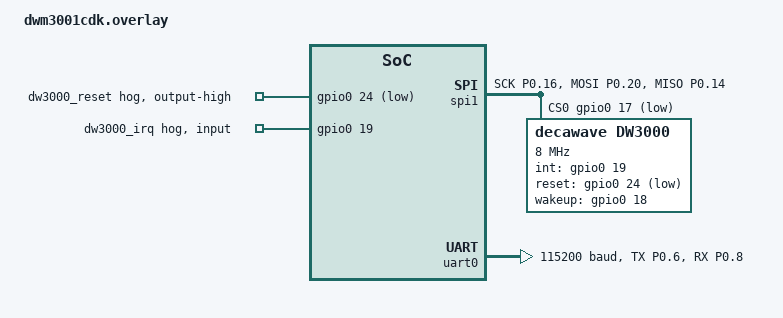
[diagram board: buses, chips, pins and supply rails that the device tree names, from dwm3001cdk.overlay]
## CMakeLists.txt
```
cmake_minimum_required(VERSION 3.20.0)

find_package(Zephyr REQUIRED HINTS $ENV{ZEPHYR_BASE})
project(uwb_scanner VERSION 1.0.0)

# Get git commit hash
execute_process(
    COMMAND git rev-parse --short HEAD
    WORKING_DIRECTORY ${CMAKE_SOURCE_DIR}
    OUTPUT_VARIABLE GIT_COMMIT_HASH
    OUTPUT_STRIP_TRAILING_WHITESPACE
    ERROR_QUIET
)

# Get build timestamp
string(TIMESTAMP BUILD_TIMESTAMP "%Y-%m-%d %H:%M:%S UTC" UTC)

# Pass version info as compile definitions
if(GIT_COMMIT_HASH)
    target_compile_definitions(app PRIVATE
        GIT_COMMIT_HASH="${GIT_COMMIT_HASH}"
        BUILD_TIMESTAMP="${BUILD_TIMESTAMP}"
    )
endif()

target_sources(app PRIVATE
    src/main.c
    src/uwb_scanner.c
    src/dw3000_driver.c
    src/uart_output.c
)

target_include_directories(app PRIVATE
    include
)
```

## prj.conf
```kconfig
# Zephyr Configuration for UWB Scanner

# Logging
CONFIG_LOG=y
CONFIG_LOG_DEFAULT_LEVEL=3
CONFIG_SERIAL=y
CONFIG_CONSOLE=y
CONFIG_UART_CONSOLE=y
CONFIG_UART_NRFX=y

# USB CDC ACM
CONFIG_USB_DEVICE_STACK=y
CONFIG_USB_DEVICE_PRODUCT="UWB Scanner"
CONFIG_USB_DEVICE_MANUFACTURER="Qorvo"
CONFIG_USB_DEVICE_VID=0x2FE3
CONFIG_USB_DEVICE_PID=0x0100
CONFIG_USB_CDC_ACM=y
CONFIG_UART_LINE_CTRL=y

# Logging backend
CONFIG_LOG_BACKEND_UART=y

# UWB and SPI
CONFIG_SPI=y
CONFIG_GPIO=y

# JSON support for output formatting
CONFIG_JSON_LIBRARY=y

# Increase stack sizes for UWB processing
CONFIG_MAIN_STACK_SIZE=8192
CONFIG_SYSTEM_WORKQUEUE_STACK_SIZE=4096

# Enable floating point for distance calculations
CONFIG_FPU=y

# Optimize for performance
CONFIG_SPEED_OPTIMIZATIONS=y

# Enable timestamps
CONFIG_COUNTER=y
```

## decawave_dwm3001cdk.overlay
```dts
/*
 * Device Tree Overlay for DWM3001CDK
 * Configures SPI and GPIO for DW3000 UWB transceiver
 */

#include <zephyr/dt-bindings/pinctrl/nrf-pinctrl.h>

/ {
    chosen {
        zephyr,console = &uart0;
        zephyr,shell-uart = &uart0;
        zephyr,cdc-acm-uart0 = &cdc_acm_uart0;
    };

    aliases {
        dw3000-spi = &spi3;
    };
};

/* Pin configuration for SPI3 */
&pinctrl {
    spi3_default: spi3_default {
        group1 {
            psels = <NRF_PSEL(SPIM_SCK, 0, 16)>,
                    <NRF_PSEL(SPIM_MOSI, 0, 20)>,
                    <NRF_PSEL(SPIM_MISO, 0, 21)>;
        };
    };

    spi3_sleep: spi3_sleep {
        group1 {
            psels = <NRF_PSEL(SPIM_SCK, 0, 16)>,
                    <NRF_PSEL(SPIM_MOSI, 0, 20)>,
                    <NRF_PSEL(SPIM_MISO, 0, 21)>;
            low-power-enable;
        };
    };
};

/* Enable USB */
&zephyr_udc0 {
    cdc_acm_uart0: cdc_acm_uart0 {
        compatible = "zephyr,cdc-acm-uart";
    };
};

/* Configure SPI3 for DW3000 */
&spi3 {
    compatible = "nordic,nrf-spim";
    status = "okay";
    pinctrl-0 = <&spi3_default>;
    pinctrl-1 = <&spi3_sleep>;
    pinctrl-names = "default", "sleep";

    dw3000: dw3000@0 {
        compatible = "decawave,dw3000";
        reg = <0>;
        spi-max-frequency = <8000000>;
        cs-gpios = <&gpio0 17 GPIO_ACTIVE_LOW>;
        int-gpios = <&gpio0 19 (GPIO_PULL_DOWN | GPIO_ACTIVE_HIGH)>;
        reset-gpios = <&gpio0 24 GPIO_ACTIVE_LOW>;
        wakeup-gpios = <&gpio0 18 GPIO_ACTIVE_HIGH>;
    };
};

/* Configure UART0 for console output */
&uart0 {
    compatible = "nordic,nrf-uarte";
    status = "okay";
    current-speed = <115200>;
    pinctrl-0 = <&uart0_default>;
    pinctrl-1 = <&uart0_sleep>;
    pinctrl-names = "default", "sleep";
};

/* GPIO configuration */
&gpio0 {
    status = "okay";
};
```

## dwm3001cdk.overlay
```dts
/*
 * Device Tree Overlay for DWM3001CDK
 * Configures SPI and GPIO for DW3000 UWB transceiver
 */

/ {
    chosen {
        zephyr,console = &uart0;
        zephyr,shell-uart = &uart0;
    };

    aliases {
        dw3000-spi = &spi1;
    };
};

/* Configure SPI1 for DW3000 */
&spi1 {
    compatible = "nordic,nrf-spim";
    status = "okay";
    cs-gpios = <&gpio0 17 GPIO_ACTIVE_LOW>;

    pinctrl-0 = <&spi1_default>;
    pinctrl-1 = <&spi1_sleep>;
    pinctrl-names = "default", "sleep";

    dw3000: dw3000@0 {
        compatible = "decawave,dw3000";
        reg = <0>;
        spi-max-frequency = <8000000>;
        int-gpios = <&gpio0 19 (GPIO_PULL_DOWN | GPIO_ACTIVE_HIGH)>;
        reset-gpios = <&gpio0 24 GPIO_ACTIVE_LOW>;
        wakeup-gpios = <&gpio0 18 GPIO_ACTIVE_HIGH>;
    };
};

/* Configure UART0 for console output */
&uart0 {
    status = "okay";
    current-speed = <115200>;
    pinctrl-0 = <&uart0_default>;
    pinctrl-1 = <&uart0_sleep>;
    pinctrl-names = "default", "sleep";
};

/* Pin configuration */
&pinctrl {
    spi1_default: spi1_default {
        group1 {
            psels = <NRF_PSEL(SPIM_SCK, 0, 16)>,
                    <NRF_PSEL(SPIM_MOSI, 0, 20)>,
                    <NRF_PSEL(SPIM_MISO, 0, 14)>;
        };
    };

    spi1_sleep: spi1_sleep {
        group1 {
            psels = <NRF_PSEL(SPIM_SCK, 0, 16)>,
                    <NRF_PSEL(SPIM_MOSI, 0, 20)>,
                    <NRF_PSEL(SPIM_MISO, 0, 14)>;
            low-power-enable;
        };
    };

    uart0_default: uart0_default {
        group1 {
            psels = <NRF_PSEL(UART_TX, 0, 6)>,
                    <NRF_PSEL(UART_RX, 0, 8)>;
        };
    };

    uart0_sleep: uart0_sleep {
        group1 {
            psels = <NRF_PSEL(UART_TX, 0, 6)>,
                    <NRF_PSEL(UART_RX, 0, 8)>;
            low-power-enable;
        };
    };
};

/* GPIO configuration for DW3000 control pins */
&gpio0 {
    status = "okay";

    dw3000_reset: dw3000-reset {
        gpio-hog;
        gpios = <24 GPIO_ACTIVE_LOW>;
        output-high;
    };

    dw3000_irq: dw3000-irq {
        gpio-hog;
        gpios = <19 (GPIO_PULL_DOWN | GPIO_ACTIVE_HIGH)>;
        input;
    };
};
```

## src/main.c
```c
/**
 * @file main.c
 * @brief UWB Device Scanner main application
 */

#include <zephyr/kernel.h>
#include <zephyr/logging/log.h>
#include <zephyr/sys/printk.h>
#include <zephyr/version.h>
#include <zephyr/usb/usb_device.h>
#include <zephyr/drivers/uart.h>

#include "uwb_scanner.h"
#include "uart_output.h"
#include "version.h"

LOG_MODULE_REGISTER(main, LOG_LEVEL_INF);

/* Statistics */
static uint32_t devices_detected = 0;
static uint32_t scan_start_time = 0;

/* Device discovery callback */
static void on_device_found(const uwb_device_info_t *info)
{
    devices_detected++;

    /* Output device information via UART */
    uart_output_device_info(info);

    /* Log summary */
    LOG_INF("Device #%u: addr=0x%016llX, dist=%.2f cm, RSSI=%.2f dBm",
           devices_detected,
           info->device_addr,
           (double)info->distance_cm,
           (double)info->rssi_dbm);
}

/* Statistics thread */
#define STATS_THREAD_STACK_SIZE 1024
#define STATS_THREAD_PRIORITY 7

static K_THREAD_STACK_DEFINE(stats_stack, STATS_THREAD_STACK_SIZE);
static struct k_thread stats_thread;
static bool stats_active = true;

static void stats_thread_fn(void *arg1, void *arg2, void *arg3)
{
    ARG_UNUSED(arg1);
    ARG_UNUSED(arg2);
    ARG_UNUSED(arg3);

    while (stats_active) {
        /* Wait 10 seconds */
        k_sleep(K_SECONDS(10));

        /* Calculate and output statistics */
        uint32_t uptime = k_uptime_get_32();
        uint32_t scan_duration = (uptime - scan_start_time) / 1000;

        char status_msg[128];
        snprintf(status_msg, sizeof(status_msg),
                "Uptime: %u s, Devices detected: %u, Scan duration: %u s",
                uptime / 1000, devices_detected, scan_duration);

        uart_output_status(status_msg);

        LOG_INF("Statistics: %s", status_msg);
    }
}

int main(void)
{
    int ret;

#ifdef CONFIG_USB_DEVICE_STACK
    /* Initialize USB device */
    ret = usb_enable(NULL);
    if (ret != 0) {
        LOG_ERR("Failed to enable USB: %d", ret);
    } else {
        LOG_INF("USB device enabled");
    }

    /* Wait for USB to be ready and enumerated */
    k_sleep(K_MSEC(1000));
#else
    /* Wait for console to be ready */
    k_sleep(K_MSEC(100));
#endif

    LOG_INF("==============================================");
    LOG_INF("    UWB Device Scanner");
    LOG_INF("==============================================");
    LOG_INF("Version:      %s", APP_VERSION_STRING);
    LOG_INF("Git Hash:     %s", GIT_COMMIT_HASH);
    LOG_INF("Build Time:   %s", BUILD_TIMESTAMP);
    LOG_INF("Zephyr:       %s", KERNEL_VERSION_STRING);
    LOG_INF("Board:        %s", CONFIG_BOARD);
    LOG_INF("==============================================");

    /* Initialize UART output */
    ret = uart_output_init();
    if (ret < 0) {
        LOG_ERR("Failed to initialize UART output: %d", ret);
        uart_output_error("UART initialization failed");
        return ret;
    }

    uart_output_status("Initializing UWB scanner...");

    /* Initialize UWB scanner */
    ret = uwb_scanner_init(on_device_found);
    if (ret < 0) {
        LOG_ERR("Failed to initialize UWB scanner: %d", ret);
        uart_output_error("UWB scanner initialization failed");
        return ret;
    }

    uart_output_status("UWB scanner initialized");

    /* Start scanning */
    scan_start_time = k_uptime_get_32();
    ret = uwb_scanner_start();
    if (ret < 0) {
        LOG_ERR("Failed to start UWB scanner: %d", ret);
        uart_output_error("Failed to start scanner");
        return ret;
    }

    uart_output_status("Scanning started");
    LOG_INF("Scanner started successfully");

    /* Start statistics thread */
    k_thread_create(&stats_thread, stats_stack, STATS_THREAD_STACK_SIZE,
                   stats_thread_fn, NULL, NULL, NULL,
                   STATS_THREAD_PRIORITY, 0, K_NO_WAIT);
    k_thread_name_set(&stats_thread, "statistics");

    /* Main loop - just keep running */
    while (1) {
        k_sleep(K_SECONDS(1));

        /* Check if scanner is still active */
        if (!uwb_scanner_is_active()) {
            LOG_WRN("Scanner stopped unexpectedly");
            uart_output_error("Scanner stopped");

            /* Try to restart */
            k_sleep(K_SECONDS(1));
            ret = uwb_scanner_start();
            if (ret < 0) {
                LOG_ERR("Failed to restart scanner: %d", ret);
            } else {
                uart_output_status("Scanner restarted");
            }
        }
    }

    return 0;
}
```

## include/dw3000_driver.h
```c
/**
 * @file dw3000_driver.h
 * @brief DW3000 UWB transceiver driver interface
 */

#ifndef DW3000_DRIVER_H
#define DW3000_DRIVER_H

#include <stdint.h>
#include <stdbool.h>

/* DW3000 Register addresses */
#define DW3000_REG_DEV_ID           0x00
#define DW3000_REG_SYS_CFG          0x04
#define DW3000_REG_TX_FCTRL         0x08
#define DW3000_REG_RX_FINFO         0x10
#define DW3000_REG_RX_BUFFER        0x11
#define DW3000_REG_RX_FQUAL         0x12
#define DW3000_REG_RX_TTCKI         0x13
#define DW3000_REG_RX_TIME          0x15
#define DW3000_REG_TX_TIME          0x17
#define DW3000_REG_SYS_STATUS       0x44
#define DW3000_REG_RX_FINFO         0x10
#define DW3000_REG_CIA_CONF         0x50
#define DW3000_REG_IP_CONF          0x52

/* DW3000 Configuration */
#define DW3000_CHANNEL_5            5
#define DW3000_CHANNEL_9            9
#define DW3000_PRF_16M              1
#define DW3000_PRF_64M              2
#define DW3000_PLEN_64              0x01
#define DW3000_PLEN_128             0x05
#define DW3000_PLEN_256             0x09

/* Status flags */
#define DW3000_STATUS_RXFCG         (1 << 13)  /* Receiver FCS Good */
#define DW3000_STATUS_RXFCE         (1 << 15)  /* Receiver FCS Error */
#define DW3000_STATUS_RXRFTO        (1 << 17)  /* Receiver Frame Wait Timeout */
#define DW3000_STATUS_RXPTO         (1 << 21)  /* Preamble Timeout */
#define DW3000_STATUS_RXFR          (1 << 13)  /* Frame Ready */

/**
 * @brief DW3000 configuration structure
 */
typedef struct {
    uint8_t channel;           /* UWB channel (5 or 9) */
    uint8_t prf;               /* Pulse repetition frequency */
    uint8_t preamble_length;   /* Preamble length code */
    uint8_t pac_size;          /* Preamble acquisition chunk size */
    uint16_t tx_preamble_code; /* TX preamble code */
    uint16_t rx_preamble_code; /* RX preamble code */
} dw3000_config_t;

/**
 * @brief Structure for received frame information
 */
typedef struct {
    uint8_t buffer[127];       /* Frame data buffer */
    uint16_t length;           /* Frame length */
    uint64_t timestamp;        /* RX timestamp */
    float rssi;                /* Received signal strength */
    uint16_t fpp_index;        /* First path power index */
    float fpp_level;           /* First path power level */
    uint8_t frame_quality;     /* Quality indicator */
} dw3000_rx_frame_t;

/**
 * @brief Initialize DW3000 chip
 *
 * @return 0 on success, negative error code otherwise
 */
int dw3000_init(void);

/**
 * @brief Configure DW3000 for operation
 *
 * @param config Pointer to configuration structure
 * @return 0 on success, negative error code otherwise
 */
int dw3000_configure(const dw3000_config_t *config);

/**
 * @brief Enable receiver mode
 *
 * @param timeout_ms Receive timeout in milliseconds (0 for no timeout)
 * @return 0 on success, negative error code otherwise
 */
int dw3000_rx_enable(uint32_t timeout_ms);

/**
 * @brief Read received frame
 *
 * @param frame Pointer to frame structure to fill
 * @return 0 on success, negative error code otherwise
 */
int dw3000_read_frame(dw3000_rx_frame_t *frame);

/**
 * @brief Check if frame is ready to be read
 *
 * @return true if frame ready, false otherwise
 */
bool dw3000_is_frame_ready(void);

/**
 * @brief Get device ID
 *
 * @return 32-bit device ID
 */
uint32_t dw3000_get_device_id(void);

/**
 * @brief Set device address (EUI-64)
 *
 * @param addr 64-bit device address
 * @return 0 on success, negative error code otherwise
 */
int dw3000_set_device_address(uint64_t addr);

/**
 * @brief Perform soft reset
 *
 * @return 0 on success, negative error code otherwise
 */
int dw3000_reset(void);

/**
 * @brief Read register value
 *
 * @param reg Register address
 * @param data Buffer for data
 * @param len Length to read
 * @return 0 on success, negative error code otherwise
 */
int dw3000_read_reg(uint16_t reg, uint8_t *data, uint16_t len);

/**
 * @brief Write register value
 *
 * @param reg Register address
 * @param data Data to write
 * @param len Length to write
 * @return 0 on success, negative error code otherwise
 */
int dw3000_write_reg(uint16_t reg, const uint8_t *data, uint16_t len);

#endif /* DW3000_DRIVER_H */
```

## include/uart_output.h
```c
/**
 * @file uart_output.h
 * @brief UART output formatting interface
 */

#ifndef UART_OUTPUT_H
#define UART_OUTPUT_H

#include "uwb_scanner.h"

/**
 * @brief Initialize UART output
 *
 * @return 0 on success, negative error code otherwise
 */
int uart_output_init(void);

/**
 * @brief Output device information in JSON format
 *
 * @param info Pointer to device information
 */
void uart_output_device_info(const uwb_device_info_t *info);

/**
 * @brief Output status message
 *
 * @param message Status message string
 */
void uart_output_status(const char *message);

/**
 * @brief Output error message
 *
 * @param error_msg Error message string
 */
void uart_output_error(const char *error_msg);

#endif /* UART_OUTPUT_H */
```

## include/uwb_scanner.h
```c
/**
 * @file uwb_scanner.h
 * @brief UWB device scanner interface
 */

#ifndef UWB_SCANNER_H
#define UWB_SCANNER_H

#include <stdint.h>
#include <stdbool.h>

/**
 * @brief Structure containing information about a discovered UWB device
 */
typedef struct {
    uint64_t device_addr;      /* EUI-64 address of the device */
    uint32_t timestamp_ms;     /* System timestamp when device was detected */
    float distance_cm;         /* Estimated distance in centimeters */
    float rssi_dbm;           /* Received signal strength in dBm */
    uint16_t fpp_index;       /* First path power index */
    float fpp_level;          /* First path power level */
    uint8_t channel;          /* UWB channel used */
    uint8_t prf;              /* Pulse repetition frequency (16 or 64 MHz) */
    uint8_t frame_quality;    /* Frame quality indicator (0-255) */
} uwb_device_info_t;

/**
 * @brief Callback function type for device discovery
 *
 * @param info Pointer to device information structure
 */
typedef void (*uwb_device_callback_t)(const uwb_device_info_t *info);

/**
 * @brief Initialize the UWB scanner
 *
 * @param callback Function to call when a device is discovered
 * @return 0 on success, negative error code otherwise
 */
int uwb_scanner_init(uwb_device_callback_t callback);

/**
 * @brief Start continuous scanning for UWB devices
 *
 * @return 0 on success, negative error code otherwise
 */
int uwb_scanner_start(void);

/**
 * @brief Stop UWB scanning
 *
 * @return 0 on success, negative error code otherwise
 */
int uwb_scanner_stop(void);

/**
 * @brief Check if scanner is currently active
 *
 * @return true if scanning, false otherwise
 */
bool uwb_scanner_is_active(void);

#endif /* UWB_SCANNER_H */
```

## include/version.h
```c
/**
 * @file version.h
 * @brief Version information for UWB Scanner
 */

#ifndef VERSION_H
#define VERSION_H

/* Application version */
#define APP_VERSION_MAJOR 1
#define APP_VERSION_MINOR 0
#define APP_VERSION_PATCH 0

#define APP_VERSION_STRING "1.0.0"

/* Git information - will be populated by CMake */
#ifndef GIT_COMMIT_HASH
#define GIT_COMMIT_HASH "unknown"
#endif

#ifndef BUILD_TIMESTAMP
#define BUILD_TIMESTAMP __DATE__ " " __TIME__
#endif

#endif /* VERSION_H */
```

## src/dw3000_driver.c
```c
/**
 * @file dw3000_driver.c
 * @brief DW3000 UWB transceiver driver implementation
 */

#include <zephyr/kernel.h>
#include <zephyr/device.h>
#include <zephyr/drivers/spi.h>
#include <zephyr/drivers/gpio.h>
#include <zephyr/logging/log.h>
#include <zephyr/sys/util.h>
#include <string.h>
#include <math.h>

#include "dw3000_driver.h"

LOG_MODULE_REGISTER(dw3000, LOG_LEVEL_INF);

/* Device Tree Node */
#define DW3000_NODE DT_NODELABEL(dw3000)

/* SPI Configuration */
#define DW3000_SPI_FREQ 8000000
#define DW3000_SPI_FREQ_SLOW 2000000  /* Slower speed for init */
#define DW3000_SPI_MODE (SPI_WORD_SET(8) | SPI_TRANSFER_MSB)

/* SPI Commands */
#define DW3000_SPI_WRITE 0x80
#define DW3000_SPI_READ  0x00

/* Device constants */
#define DW3000_DEVICE_ID 0xDECA0302

/* GPIO Pins for DWM3001CDK */
#define DW3000_RESET_PIN  24
#define DW3000_WAKEUP_PIN 18
#define DW3000_IRQ_PIN    19

/* Static variables */
static const struct device *spi_dev;
static struct spi_config spi_cfg;
static const struct device *gpio_dev;

/* Helper function to perform SPI transaction */
static int dw3000_spi_transfer(uint16_t reg, uint8_t *data, uint16_t len, bool write)
{
    uint8_t header[3];
    uint8_t header_rx[3];
    int header_len;

    /* Build SPI header */
    if (reg < 0x80) {
        /* Short register address */
        header[0] = (write ? DW3000_SPI_WRITE : DW3000_SPI_READ) | (reg & 0x3F);
        header_len = 1;
    } else {
        /* Extended register address */
        header[0] = (write ? DW3000_SPI_WRITE : DW3000_SPI_READ) | 0x40;
        header[1] = (reg & 0x7F);
        header[2] = ((reg >> 7) & 0xFF);
        header_len = 3;
    }

    struct spi_buf tx_bufs[] = {
        {.buf = header, .len = (size_t)header_len},
        {.buf = write ? data : NULL, .len = write ? len : 0}
    };

    struct spi_buf rx_bufs[] = {
        {.buf = header_rx, .len = (size_t)header_len},
        {.buf = write ? NULL : data, .len = write ? 0 : len}
    };

    struct spi_buf_set tx = {.buffers = tx_bufs, .count = 2U};
    struct spi_buf_set rx = {.buffers = rx_bufs, .count = 2U};

    int ret = spi_transceive(spi_dev, &spi_cfg, &tx, &rx);
    if (ret < 0) {
        LOG_ERR("SPI transfer failed: %d (reg=0x%04X, len=%d, write=%d)", 
                ret, reg, len, write);
        return ret;
    }
    
    /* Debug: Print first few bytes of read data */
    if (!write && len > 0) {
        LOG_DBG("SPI read reg 0x%04X: 0x%02X 0x%02X 0x%02X 0x%02X", 
                reg, 
                len > 0 ? data[0] : 0,
                len > 1 ? data[1] : 0,
                len > 2 ? data[2] : 0,
                len > 3 ? data[3] : 0);
    }

    return 0;
}

int dw3000_read_reg(uint16_t reg, uint8_t *data, uint16_t len)
{
    return dw3000_spi_transfer(reg, data, len, false);
}

int dw3000_write_reg(uint16_t reg, const uint8_t *data, uint16_t len)
{
    return dw3000_spi_transfer(reg, (uint8_t *)data, len, true);
}

int dw3000_init(void)
{
    int ret;

    LOG_INF("Initializing DW3000");

    /* Get GPIO device */
    gpio_dev = DEVICE_DT_GET(DT_NODELABEL(gpio0));
    if (!device_is_ready(gpio_dev)) {
        LOG_ERR("GPIO device not ready");
        return -ENODEV;
    }

    /* Get SPI device */
    spi_dev = DEVICE_DT_GET(DT_BUS(DW3000_NODE));
    if (!device_is_ready(spi_dev)) {
        LOG_ERR("SPI device not ready");
        return -ENODEV;
    }
    LOG_DBG("SPI device ready: %s", spi_dev->name);

    /* Configure SPI - DW3000 requires SPI Mode 0 (CPOL=0, CPHA=0) */
    /* Start with slower speed for initialization */
    spi_cfg.frequency = DW3000_SPI_FREQ_SLOW;
    spi_cfg.operation = DW3000_SPI_MODE;
    spi_cfg.slave = 0;

    /* Configure CS control from device tree */
    spi_cfg.cs = (struct spi_cs_control) {
        .gpio = SPI_CS_GPIOS_DT_SPEC_GET(DW3000_NODE),
        .delay = 2,  /* 2us delay after CS assertion */
    };
    
    LOG_DBG("SPI config: freq=%d Hz, mode=0x%08X", spi_cfg.frequency, spi_cfg.operation);

    /* Configure reset GPIO (output, initially high/inactive since active-low) */
    ret = gpio_pin_configure(gpio_dev, DW3000_RESET_PIN, GPIO_OUTPUT_HIGH);
    if (ret < 0) {
        LOG_ERR("Failed to configure reset GPIO: %d", ret);
        return ret;
    }

    /* Configure wakeup GPIO (keep high to prevent sleep) */
    ret = gpio_pin_configure(gpio_dev, DW3000_WAKEUP_PIN, GPIO_OUTPUT_HIGH);
    if (ret < 0) {
        LOG_WRN("Failed to configure wakeup GPIO: %d", ret);
    }

    /* Perform hardware reset sequence */
    LOG_INF("Performing hardware reset");

    /* DW3000 wakeup sequence: 
     * The chip might be in deep sleep. We need to wake it first before reset.
     * Wakeup requires pulling WAKEUP low briefly, then high.
     */
    
    /* First, try to wake the chip from deep sleep */
    LOG_DBG("Waking chip from potential deep sleep");
    gpio_pin_set(gpio_dev, DW3000_WAKEUP_PIN, 0);  /* Pull WAKEUP low */
    k_sleep(K_USEC(500));  /* 500us low pulse */
    gpio_pin_set(gpio_dev, DW3000_WAKEUP_PIN, 1);  /* Pull WAKEUP high */
    k_sleep(K_MSEC(2));  /* Wait for wakeup */

    /* Now perform the hardware reset */
    LOG_DBG("Asserting reset (low)");
    gpio_pin_set(gpio_dev, DW3000_RESET_PIN, 0);
    k_sleep(K_MSEC(2));  /* Hold reset for 2ms minimum */

    /* Deassert reset (pull high) */
    LOG_DBG("Deasserting reset (high)");
    gpio_pin_set(gpio_dev, DW3000_RESET_PIN, 1);
    
    /* Keep WAKEUP high to prevent chip from going back to sleep */
    gpio_pin_set(gpio_dev, DW3000_WAKEUP_PIN, 1);
    
    /* Wait for chip to stabilize after reset - DW3000 datasheet specifies 5ms */
    k_sleep(K_MSEC(5));
    
    LOG_DBG("Attempting to read device ID");

    /* Try a simple SPI loopback test first by reading a known register */
    uint8_t test_buf[4] = {0};
    int ret_test = dw3000_read_reg(DW3000_REG_DEV_ID, test_buf, 4);
    LOG_DBG("Initial SPI test: ret=%d, data=[0x%02X 0x%02X 0x%02X 0x%02X]",
            ret_test, test_buf[0], test_buf[1], test_buf[2], test_buf[3]);

    /* Read and verify device ID - try multiple times */
    uint32_t dev_id = 0;
    int attempts = 0;
    for (attempts = 0; attempts < 5; attempts++) {
        dev_id = dw3000_get_device_id();
        LOG_INF("Device ID (attempt %d): 0x%08X", attempts + 1, dev_id);
        
        /* Check if we got a valid response (not 0x00000000 or 0xFFFFFFFF) */
        if (dev_id != 0x00000000 && dev_id != 0xFFFFFFFF) {
            break;
        }
        
        /* Wait a bit before retrying */
        k_sleep(K_MSEC(10));
    }
    
    /* If we still have all 1s or all 0s, there's a communication problem */
    if (dev_id == 0x00000000) {
        LOG_ERR("Device ID reads as 0x00000000 - possible SPI connection issue");
        return -EIO;
    } else if (dev_id == 0xFFFFFFFF) {
        LOG_ERR("Device ID reads as 0xFFFFFFFF - chip not responding or not powered");
        return -EIO;
    }

    if ((dev_id & 0xFFFFFF00) != (DW3000_DEVICE_ID & 0xFFFFFF00)) {
        LOG_ERR("Invalid device ID: expected 0x%08X, got 0x%08X",
                DW3000_DEVICE_ID, dev_id);
        return -EINVAL;
    }

    LOG_INF("DW3000 detected successfully, switching to full speed SPI");

    /* Now that we confirmed the chip is working, switch to full speed */
    spi_cfg.frequency = DW3000_SPI_FREQ;
    
    LOG_INF("DW3000 initialized successfully");
    return 0;
}

int dw3000_configure(const dw3000_config_t *config)
{
    int ret;

    LOG_INF("Configuring DW3000: Channel=%d, PRF=%d",
            config->channel, config->prf);

    /* Configure channel and PRF */
    uint8_t chan_cfg[4] = {0};
    chan_cfg[0] = config->channel;
    chan_cfg[1] = config->prf;

    ret = dw3000_write_reg(DW3000_REG_SYS_CFG, chan_cfg, sizeof(chan_cfg));
    if (ret < 0) {
        LOG_ERR("Failed to configure channel");
        return ret;
    }

    /* Configure preamble */
    uint8_t preamble_cfg[2] = {0};
    preamble_cfg[0] = config->preamble_length;

    ret = dw3000_write_reg(0x06, preamble_cfg, sizeof(preamble_cfg));
    if (ret < 0) {
        LOG_ERR("Failed to configure preamble");
        return ret;
    }

    LOG_INF("DW3000 configuration complete");
    return 0;
}

int dw3000_rx_enable(uint32_t timeout_ms)
{
    uint8_t cmd[1] = {0x01}; /* RX enable command */

    int ret = dw3000_write_reg(DW3000_REG_SYS_CFG, cmd, sizeof(cmd));
    if (ret < 0) {
        LOG_ERR("Failed to enable RX");
        return ret;
    }

    return 0;
}

bool dw3000_is_frame_ready(void)
{
    uint8_t status[5] = {0};

    int ret = dw3000_read_reg(DW3000_REG_SYS_STATUS, status, sizeof(status));
    if (ret < 0) {
        return false;
    }

    uint32_t status_reg = (status[0] | (status[1] << 8) |
                          (status[2] << 16) | (status[3] << 24));

    return (status_reg & DW3000_STATUS_RXFCG) != 0;
}

int dw3000_read_frame(dw3000_rx_frame_t *frame)
{
    int ret;

    /* Read frame length */
    uint8_t finfo[4] = {0};
    ret = dw3000_read_reg(DW3000_REG_RX_FINFO, finfo, sizeof(finfo));
    if (ret < 0) {
        LOG_ERR("Failed to read frame info");
        return ret;
    }

    frame->length = finfo[0] | ((finfo[1] & 0x03) << 8);
    if (frame->length > sizeof(frame->buffer)) {
        frame->length = sizeof(frame->buffer);
    }

    /* Read frame data */
    ret = dw3000_read_reg(DW3000_REG_RX_BUFFER, frame->buffer, frame->length);
    if (ret < 0) {
        LOG_ERR("Failed to read frame buffer");
        return ret;
    }

    /* Read RX timestamp */
    uint8_t timestamp[5] = {0};
    ret = dw3000_read_reg(DW3000_REG_RX_TIME, timestamp, sizeof(timestamp));
    if (ret < 0) {
        LOG_ERR("Failed to read timestamp");
        return ret;
    }

    frame->timestamp = timestamp[0] | ((uint64_t)timestamp[1] << 8) |
                      ((uint64_t)timestamp[2] << 16) |
                      ((uint64_t)timestamp[3] << 24) |
                      ((uint64_t)timestamp[4] << 32);

    /* Read signal quality metrics */
    uint8_t fqual[8] = {0};
    ret = dw3000_read_reg(DW3000_REG_RX_FQUAL, fqual, sizeof(fqual));
    if (ret < 0) {
        LOG_ERR("Failed to read frame quality");
        return ret;
    }

    /* Calculate RSSI (simplified) */
    uint16_t cir_pwr = fqual[0] | (fqual[1] << 8);
    frame->rssi = 10.0f * log10f((float)cir_pwr) - 115.0f;

    /* Extract first path power index */
    frame->fpp_index = fqual[2] | (fqual[3] << 8);

    /* Calculate first path power level */
    uint16_t fp_ampl = fqual[4] | (fqual[5] << 8);
    frame->fpp_level = 10.0f * log10f((float)fp_ampl);

    /* Frame quality indicator */
    frame->frame_quality = fqual[6];

    /* Clear RX status */
    uint8_t clear_status[5] = {0xFF, 0xFF, 0xFF, 0xFF, 0xFF};
    dw3000_write_reg(DW3000_REG_SYS_STATUS, clear_status, sizeof(clear_status));

    return 0;
}

uint32_t dw3000_get_device_id(void)
{
    uint8_t id[4] = {0};

    int ret = dw3000_read_reg(DW3000_REG_DEV_ID, id, sizeof(id));
    if (ret < 0) {
        return 0;
    }

    return id[0] | (id[1] << 8) | (id[2] << 16) | (id[3] << 24);
}

int dw3000_set_device_address(uint64_t addr)
{
    uint8_t addr_bytes[8];

    for (int i = 0; i < 8; i++) {
        addr_bytes[i] = (addr >> (i * 8)) & 0xFF;
    }

    return dw3000_write_reg(0x03, addr_bytes, sizeof(addr_bytes));
}

int dw3000_reset(void)
{
    LOG_INF("Resetting DW3000");

    /* Soft reset */
    uint8_t reset_cmd[1] = {0xE0};
    int ret = dw3000_write_reg(0x36, reset_cmd, sizeof(reset_cmd));
    if (ret < 0) {
        return ret;
    }

    k_sleep(K_MSEC(10));

    return 0;
}
```

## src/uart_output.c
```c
/**
 * @file uart_output.c
 * @brief UART output formatting implementation
 */

#include <zephyr/kernel.h>
#include <zephyr/device.h>
#include <zephyr/drivers/uart.h>
#include <zephyr/logging/log.h>
#include <stdio.h>
#include <string.h>

#include "uart_output.h"

LOG_MODULE_REGISTER(uart_output, LOG_LEVEL_INF);

/* UART devices */
static const struct device *uart_dev;
#ifdef CONFIG_USB_CDC_ACM
static const struct device *usb_uart_dev;
#endif

/* Output buffer */
#define OUTPUT_BUFFER_SIZE 512
static char output_buffer[OUTPUT_BUFFER_SIZE];

/* Mutex for thread-safe output */
static K_MUTEX_DEFINE(output_mutex);

/* Helper function to send string via UART */
static void uart_send_string(const char *str)
{
    int len = strlen(str);

    /* Send to physical UART */
    if (uart_dev && device_is_ready(uart_dev)) {
        for (int i = 0; i < len; i++) {
            uart_poll_out(uart_dev, str[i]);
        }
    }

#ifdef CONFIG_USB_CDC_ACM
    /* Send to USB CDC ACM */
    if (usb_uart_dev && device_is_ready(usb_uart_dev)) {
        for (int i = 0; i < len; i++) {
            uart_poll_out(usb_uart_dev, str[i]);
        }
    }
#endif
}

int uart_output_init(void)
{
    LOG_INF("Initializing UART output");

    /* Get UART device */
    uart_dev = DEVICE_DT_GET(DT_CHOSEN(zephyr_console));
    if (!device_is_ready(uart_dev)) {
        LOG_ERR("UART device not ready");
        return -ENODEV;
    }

#ifdef CONFIG_USB_CDC_ACM
    /* Get USB CDC ACM device */
    usb_uart_dev = DEVICE_DT_GET(DT_CHOSEN(zephyr_cdc_acm_uart0));
    if (!device_is_ready(usb_uart_dev)) {
        LOG_WRN("USB CDC ACM device not ready");
        usb_uart_dev = NULL;
    } else {
        LOG_INF("USB CDC ACM device ready");
    }
#endif

    LOG_INF("UART output initialized successfully");
    return 0;
}

void uart_output_device_info(const uwb_device_info_t *info)
{
    k_mutex_lock(&output_mutex, K_FOREVER);

    /* Format device information as JSON */
    int len = snprintf(output_buffer, OUTPUT_BUFFER_SIZE,
        "{"
        "\"type\":\"device_found\","
        "\"timestamp_ms\":%u,"
        "\"device_addr\":\"%016llX\","
        "\"distance_cm\":%.2f,"
        "\"rssi_dbm\":%.2f,"
        "\"fpp_index\":%u,"
        "\"fpp_level\":%.2f,"
        "\"channel\":%u,"
        "\"prf\":%u,"
        "\"frame_quality\":%u"
        "}\r\n",
        info->timestamp_ms,
        info->device_addr,
        (double)info->distance_cm,
        (double)info->rssi_dbm,
        info->fpp_index,
        (double)info->fpp_level,
        info->channel,
        info->prf,
        info->frame_quality
    );

    if (len > 0 && len < OUTPUT_BUFFER_SIZE) {
        uart_send_string(output_buffer);
    } else {
        LOG_ERR("Output buffer overflow");
    }

    k_mutex_unlock(&output_mutex);
}

void uart_output_status(const char *message)
{
    k_mutex_lock(&output_mutex, K_FOREVER);

    int len = snprintf(output_buffer, OUTPUT_BUFFER_SIZE,
        "{\"type\":\"status\",\"message\":\"%s\"}\r\n",
        message
    );

    if (len > 0 && len < OUTPUT_BUFFER_SIZE) {
        uart_send_string(output_buffer);
    }

    k_mutex_unlock(&output_mutex);
}

void uart_output_error(const char *error_msg)
{
    k_mutex_lock(&output_mutex, K_FOREVER);

    int len = snprintf(output_buffer, OUTPUT_BUFFER_SIZE,
        "{\"type\":\"error\",\"message\":\"%s\"}\r\n",
        error_msg
    );

    if (len > 0 && len < OUTPUT_BUFFER_SIZE) {
        uart_send_string(output_buffer);
    }

    k_mutex_unlock(&output_mutex);
}
```

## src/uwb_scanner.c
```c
/**
 * @file uwb_scanner.c
 * @brief UWB device scanner implementation
 */

#include <zephyr/kernel.h>
#include <zephyr/logging/log.h>
#include <string.h>
#include <math.h>

#include "uwb_scanner.h"
#include "dw3000_driver.h"

LOG_MODULE_REGISTER(uwb_scanner, LOG_LEVEL_INF);

/* Scanner state */
static bool scanner_active = false;
static uwb_device_callback_t device_callback = NULL;

/* Scanner thread */
#define SCANNER_STACK_SIZE 2048
#define SCANNER_PRIORITY 5

static K_THREAD_STACK_DEFINE(scanner_stack, SCANNER_STACK_SIZE);
static struct k_thread scanner_thread;

/* IEEE 802.15.4 frame types */
#define IEEE154_FRAME_TYPE_BEACON 0x00
#define IEEE154_FRAME_TYPE_DATA   0x01
#define IEEE154_FRAME_TYPE_ACK    0x02
#define IEEE154_FRAME_TYPE_MAC    0x03

/* Frame control field parsing */
typedef struct {
    uint8_t frame_type;
    bool security_enabled;
    bool frame_pending;
    bool ack_request;
    bool pan_id_compress;
    uint8_t dest_addr_mode;
    uint8_t src_addr_mode;
} ieee154_fcf_t;

/* Parse IEEE 802.15.4 frame control field */
static void parse_frame_control(uint16_t fcf, ieee154_fcf_t *parsed)
{
    parsed->frame_type = fcf & 0x07;
    parsed->security_enabled = (fcf & 0x08) != 0;
    parsed->frame_pending = (fcf & 0x10) != 0;
    parsed->ack_request = (fcf & 0x20) != 0;
    parsed->pan_id_compress = (fcf & 0x40) != 0;
    parsed->dest_addr_mode = (fcf >> 10) & 0x03;
    parsed->src_addr_mode = (fcf >> 14) & 0x03;
}

/* Extract device address from frame */
static uint64_t extract_device_address(const uint8_t *frame, uint16_t length,
                                      const ieee154_fcf_t *fcf)
{
    uint64_t addr = 0;
    int offset = 3; /* Skip FCF and sequence number */

    /* Skip destination PAN ID if present */
    if (fcf->dest_addr_mode != 0) {
        offset += 2;
    }

    /* Skip destination address */
    if (fcf->dest_addr_mode == 2) {
        offset += 2; /* Short address */
    } else if (fcf->dest_addr_mode == 3) {
        offset += 8; /* Extended address */
    }

    /* Skip source PAN ID if present and not compressed */
    if (fcf->src_addr_mode != 0 && !fcf->pan_id_compress) {
        offset += 2;
    }

    /* Extract source address */
    if (fcf->src_addr_mode == 3 && offset + 8 <= length) {
        /* Extended 64-bit address */
        for (int i = 0; i < 8; i++) {
            addr |= ((uint64_t)frame[offset + i]) << (i * 8);
        }
    } else if (fcf->src_addr_mode == 2 && offset + 2 <= length) {
        /* Short 16-bit address */
        addr = frame[offset] | ((uint64_t)frame[offset + 1] << 8);
    }

    return addr;
}

/* Calculate distance from first path power metrics */
static float calculate_distance(uint16_t fpp_index, float fpp_level, float rssi)
{
    /* Simplified distance calculation based on two-way ranging time */
    /* This is an approximation - actual ranging requires two-way exchange */

    /* Convert RSSI to distance using path loss model */
    /* Path loss: PL(d) = PL(d0) + 10*n*log10(d/d0) */
    /* Where n is path loss exponent (typically 2-4 for indoor) */

    const float tx_power = 0.0f;  /* dBm */
    const float pl_d0 = 40.0f;     /* Path loss at 1m reference */
    const float path_loss_exp = 2.5f;  /* Indoor environment */

    float path_loss = tx_power - rssi;
    float distance_m = powf(10.0f, (path_loss - pl_d0) / (10.0f * path_loss_exp));

    /* Convert to centimeters */
    return distance_m * 100.0f;
}

/* Scanner thread function */
static void scanner_thread_fn(void *arg1, void *arg2, void *arg3)
{
    ARG_UNUSED(arg1);
    ARG_UNUSED(arg2);
    ARG_UNUSED(arg3);

    LOG_INF("Scanner thread started");

    dw3000_rx_frame_t rx_frame;
    uwb_device_info_t device_info;

    while (scanner_active) {
        /* Enable receiver */
        int ret = dw3000_rx_enable(100); /* 100ms timeout */
        if (ret < 0) {
            LOG_ERR("Failed to enable RX: %d", ret);
            k_sleep(K_MSEC(100));
            continue;
        }

        /* Wait for frame or timeout */
        k_sleep(K_MSEC(50));

        /* Check if frame is ready */
        if (dw3000_is_frame_ready()) {
            /* Read the frame */
            ret = dw3000_read_frame(&rx_frame);
            if (ret < 0) {
                LOG_ERR("Failed to read frame: %d", ret);
                continue;
            }

            LOG_DBG("Frame received: length=%d, RSSI=%.2f dBm",
                   rx_frame.length, rx_frame.rssi);

            /* Parse frame to extract device information */
            if (rx_frame.length >= 3) {
                uint16_t fcf = rx_frame.buffer[0] | (rx_frame.buffer[1] << 8);
                ieee154_fcf_t fcf_parsed;
                parse_frame_control(fcf, &fcf_parsed);

                /* Extract device address */
                device_info.device_addr = extract_device_address(
                    rx_frame.buffer, rx_frame.length, &fcf_parsed);

                /* Only report valid addresses */
                if (device_info.device_addr != 0) {
                    /* Fill in device information */
                    device_info.timestamp_ms = k_uptime_get_32();
                    device_info.rssi_dbm = rx_frame.rssi;
                    device_info.fpp_index = rx_frame.fpp_index;
                    device_info.fpp_level = rx_frame.fpp_level;
                    device_info.frame_quality = rx_frame.frame_quality;
                    device_info.channel = 5; /* From configuration */
                    device_info.prf = 64;    /* From configuration */

                    /* Calculate distance */
                    device_info.distance_cm = calculate_distance(
                        rx_frame.fpp_index, rx_frame.fpp_level, rx_frame.rssi);

                    LOG_INF("Device detected: addr=0x%016llX, RSSI=%.2f dBm, dist=%.2f cm",
                           device_info.device_addr, device_info.rssi_dbm,
                           device_info.distance_cm);

                    /* Call callback if registered */
                    if (device_callback != NULL) {
                        device_callback(&device_info);
                    }
                }
            }
        }

        /* Small delay between scans */
        k_sleep(K_MSEC(10));
    }

    LOG_INF("Scanner thread stopped");
}

int uwb_scanner_init(uwb_device_callback_t callback)
{
    LOG_INF("Initializing UWB scanner");

    /* Store callback */
    device_callback = callback;

    /* Initialize DW3000 */
    int ret = dw3000_init();
    if (ret < 0) {
        LOG_ERR("Failed to initialize DW3000: %d", ret);
        return ret;
    }

    /* Configure DW3000 for scanning */
    dw3000_config_t config = {
        .channel = DW3000_CHANNEL_5,
        .prf = DW3000_PRF_64M,
        .preamble_length = DW3000_PLEN_128,
        .pac_size = 8,
        .tx_preamble_code = 9,
        .rx_preamble_code = 9,
    };

    ret = dw3000_configure(&config);
    if (ret < 0) {
        LOG_ERR("Failed to configure DW3000: %d", ret);
        return ret;
    }

    LOG_INF("UWB scanner initialized successfully");
    return 0;
}

int uwb_scanner_start(void)
{
    if (scanner_active) {
        LOG_WRN("Scanner already active");
        return -EALREADY;
    }

    LOG_INF("Starting UWB scanner");
    scanner_active = true;

    /* Create scanner thread */
    k_thread_create(&scanner_thread, scanner_stack, SCANNER_STACK_SIZE,
                   scanner_thread_fn, NULL, NULL, NULL,
                   SCANNER_PRIORITY, 0, K_NO_WAIT);

    k_thread_name_set(&scanner_thread, "uwb_scanner");

    return 0;
}

int uwb_scanner_stop(void)
{
    if (!scanner_active) {
        LOG_WRN("Scanner not active");
        return -EALREADY;
    }

    LOG_INF("Stopping UWB scanner");
    scanner_active = false;

    /* Wait for thread to finish */
    k_thread_join(&scanner_thread, K_SECONDS(5));

    return 0;
}

bool uwb_scanner_is_active(void)
{
    return scanner_active;
}
```
